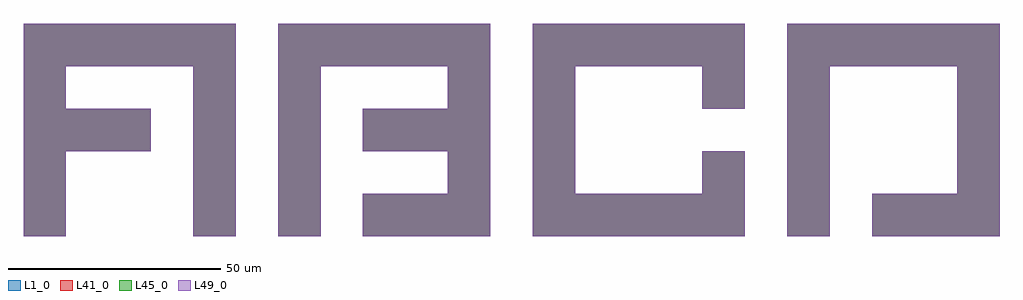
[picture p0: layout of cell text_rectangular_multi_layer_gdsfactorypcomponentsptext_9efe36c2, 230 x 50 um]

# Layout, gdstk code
import gdstk
lib = gdstk.Library(unit=1e-6, precision=1e-09)
def P(c, l, *ps):  # polygons
    for p in ps: c.add(gdstk.Polygon(p, *l))
L1_0 = (1, 0)
L41_0 = (41, 0)
L45_0 = (45, 0)
L49_0 = (49, 0)

text_rectangular_gdsfact = lib.new_cell('text_rectangular_gdsfactorypcomponentsptextsptext_recta_91ffd302')
P(text_rectangular_gdsfact, L1_0, [(0,0),(0,50),(50,50),(50,0),(40,0),(40,40),(10,40),(10,30),(30,30),(30,20),(10,20),(10,0)],
  [(60,0),(60,50),(110,50),(110,0),(80,0),(80,10),(100,10),(100,20),(80,20),(80,30),(100,30),(100,40),(70,40),(70,0)],
  [(120,0),(120,50),(170,50),(170,30),(160,30),(160,40),(130,40),(130,10),(160,10),(160,20),(170,20),(170,0)],
  [(180,0),(180,50),(230,50),(230,0),(200,0),(200,10),(220,10),(220,40),(190,40),(190,0)])

c_text_rectangular_gdsfact = lib.new_cell('text_rectangular_gdsfactorypcomponentsptextsptext_recta_dfbef80b')
P(c_text_rectangular_gdsfact, L41_0, [(0,0),(0,50),(50,50),(50,0),(40,0),(40,40),(10,40),(10,30),(30,30),(30,20),(10,20),(10,0)],
  [(60,0),(60,50),(110,50),(110,0),(80,0),(80,10),(100,10),(100,20),(80,20),(80,30),(100,30),(100,40),(70,40),(70,0)],
  [(120,0),(120,50),(170,50),(170,30),(160,30),(160,40),(130,40),(130,10),(160,10),(160,20),(170,20),(170,0)],
  [(180,0),(180,50),(230,50),(230,0),(200,0),(200,10),(220,10),(220,40),(190,40),(190,0)])

c_text_rectangular_gdsfact_ = lib.new_cell('text_rectangular_gdsfactorypcomponentsptextsptext_recta_e089aeed')
P(c_text_rectangular_gdsfact_, L45_0, [(0,0),(0,50),(50,50),(50,0),(40,0),(40,40),(10,40),(10,30),(30,30),(30,20),(10,20),(10,0)],
  [(60,0),(60,50),(110,50),(110,0),(80,0),(80,10),(100,10),(100,20),(80,20),(80,30),(100,30),(100,40),(70,40),(70,0)],
  [(120,0),(120,50),(170,50),(170,30),(160,30),(160,40),(130,40),(130,10),(160,10),(160,20),(170,20),(170,0)],
  [(180,0),(180,50),(230,50),(230,0),(200,0),(200,10),(220,10),(220,40),(190,40),(190,0)])

c_text_rectangular_gdsfact__ = lib.new_cell('text_rectangular_gdsfactorypcomponentsptextsptext_recta_93ab1193')
P(c_text_rectangular_gdsfact__, L49_0, [(0,0),(0,50),(50,50),(50,0),(40,0),(40,40),(10,40),(10,30),(30,30),(30,20),(10,20),(10,0)],
  [(60,0),(60,50),(110,50),(110,0),(80,0),(80,10),(100,10),(100,20),(80,20),(80,30),(100,30),(100,40),(70,40),(70,0)],
  [(120,0),(120,50),(170,50),(170,30),(160,30),(160,40),(130,40),(130,10),(160,10),(160,20),(170,20),(170,0)],
  [(180,0),(180,50),(230,50),(230,0),(200,0),(200,10),(220,10),(220,40),(190,40),(190,0)])

text_rectangular_multi_l = lib.new_cell('text_rectangular_multi_layer_gdsfactorypcomponentsptext_9efe36c2')
text_rectangular_multi_l.add(gdstk.Reference(text_rectangular_gdsfact, (0,0)))
text_rectangular_multi_l.add(gdstk.Reference(c_text_rectangular_gdsfact, (0,0)))
text_rectangular_multi_l.add(gdstk.Reference(c_text_rectangular_gdsfact_, (0,0)))
text_rectangular_multi_l.add(gdstk.Reference(c_text_rectangular_gdsfact__, (0,0)))

lib.write_gds('text_rectangular_multi_layer_gdsfactorypcomponentsptext_9efe36c2.gds')
